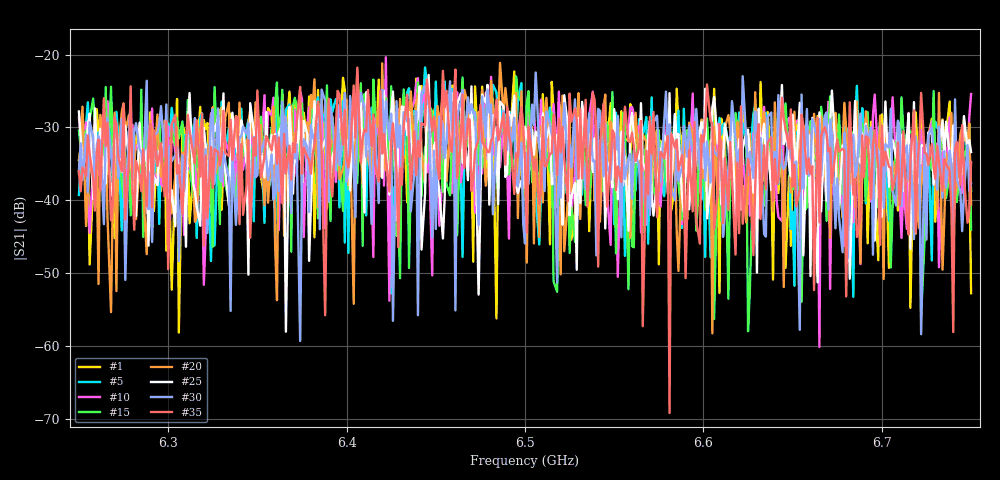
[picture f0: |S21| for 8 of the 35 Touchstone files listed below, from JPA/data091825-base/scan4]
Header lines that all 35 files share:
# Hz S RI R 50
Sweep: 6.25 GHz to 6.75 GHz
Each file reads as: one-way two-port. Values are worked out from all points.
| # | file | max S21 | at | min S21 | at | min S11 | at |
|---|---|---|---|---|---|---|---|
| 1 | trace0.s2p | -22.33 dB | 6.494 GHz | -58.1 dB | 6.306 GHz | -3.4 dB | 6.662 GHz |
| 2 | trace1.s2p | -22.49 dB | 6.452 GHz | -66.2 dB | 6.662 GHz | -5.9 dB | 6.488 GHz |
| 3 | trace2.s2p | -23.80 dB | 6.598 GHz | -60.2 dB | 6.344 GHz | -3.8 dB | 6.658 GHz |
| 4 | trace3.s2p | -21.10 dB | 6.45 GHz | -67.1 dB | 6.585 GHz | -3.7 dB | 6.646 GHz |
| 5 | trace4.s2p | -21.77 dB | 6.444 GHz | -53.2 dB | 6.684 GHz | -3.4 dB | 6.689 GHz |
| 6 | trace5.s2p | -21.30 dB | 6.489 GHz | -58.4 dB | 6.266 GHz | -7.8 dB | 6.488 GHz |
| 7 | trace6.s2p | -22.18 dB | 6.501 GHz | -54.7 dB | 6.399 GHz | -3.7 dB | 6.671 GHz |
| 8 | trace7.s2p | -21.11 dB | 6.411 GHz | -60.5 dB | 6.468 GHz | -3.6 dB | 6.668 GHz |
| 9 | trace8.s2p | -18.23 dB | 6.455 GHz | -54.0 dB | 6.336 GHz | -14.5 dB | 6.488 GHz |
| 10 | trace11.s2p | -20.37 dB | 6.422 GHz | -60.1 dB | 6.665 GHz | -4.1 dB | 6.742 GHz |
| 11 | trace12.s2p | -22.76 dB | 6.441 GHz | -52.4 dB | 6.492 GHz | -3.7 dB | 6.646 GHz |
| 12 | trace13.s2p | -22.64 dB | 6.722 GHz | -64.2 dB | 6.579 GHz | -10.0 dB | 6.488 GHz |
| 13 | trace14.s2p | -21.04 dB | 6.449 GHz | -54.3 dB | 6.68 GHz | -3.7 dB | 6.622 GHz |
| 14 | trace15.s2p | -21.45 dB | 6.414 GHz | -61.7 dB | 6.676 GHz | -7.3 dB | 6.488 GHz |
| 15 | trace16.s2p | -23.00 dB | 6.495 GHz | -58.0 dB | 6.625 GHz | -3.5 dB | 6.634 GHz |
| 16 | trace17.s2p | -22.90 dB | 6.56 GHz | -53.2 dB | 6.641 GHz | -3.6 dB | 6.641 GHz |
| 17 | trace18.s2p | -20.03 dB | 6.49 GHz | -57.7 dB | 6.742 GHz | -4.3 dB | 6.645 GHz |
| 18 | trace19.s2p | -21.91 dB | 6.415 GHz | -55.1 dB | 6.341 GHz | -3.9 dB | 6.649 GHz |
| 19 | trace20.s2p | -23.27 dB | 6.491 GHz | -62.7 dB | 6.68 GHz | -3.8 dB | 6.616 GHz |
| 20 | trace21.s2p | -21.13 dB | 6.486 GHz | -58.2 dB | 6.605 GHz | -15.9 dB | 6.488 GHz |
| 21 | trace22.s2p | -20.78 dB | 6.418 GHz | -57.5 dB | 6.728 GHz | -3.5 dB | 6.646 GHz |
| 22 | trace23.s2p | -21.92 dB | 6.445 GHz | -65.7 dB | 6.671 GHz | -5.2 dB | 6.488 GHz |
| 23 | trace24.s2p | -22.88 dB | 6.392 GHz | -62.7 dB | 6.404 GHz | -3.5 dB | 6.651 GHz |
| 24 | trace25.s2p | -22.32 dB | 6.408 GHz | -54.5 dB | 6.719 GHz | -3.7 dB | 6.671 GHz |
| 25 | trace26.s2p | -22.78 dB | 6.446 GHz | -58.0 dB | 6.366 GHz | -7.5 dB | 6.488 GHz |
| 26 | trace27.s2p | -21.42 dB | 6.391 GHz | -52.5 dB | 6.579 GHz | -3.7 dB | 6.74 GHz |
| 27 | trace30.s2p | -22.83 dB | 6.459 GHz | -57.9 dB | 6.539 GHz | -3.3 dB | 6.68 GHz |
| 28 | trace31.s2p | -23.58 dB | 6.521 GHz | -68.0 dB | 6.619 GHz | -3.5 dB | 6.668 GHz |
| 29 | trace32.s2p | -20.65 dB | 6.426 GHz | -54.9 dB | 6.275 GHz | -15.5 dB | 6.488 GHz |
| 30 | trace33.s2p | -22.47 dB | 6.506 GHz | -59.3 dB | 6.374 GHz | -3.5 dB | 6.66 GHz |
| 31 | trace34.s2p | -23.94 dB | 6.398 GHz | -60.0 dB | 6.616 GHz | -4.7 dB | 6.488 GHz |
| 32 | trace35.s2p | -19.55 dB | 6.462 GHz | -60.0 dB | 6.476 GHz | -3.5 dB | 6.661 GHz |
| 33 | trace36.s2p | -22.06 dB | 6.436 GHz | -59.3 dB | 6.272 GHz | -3.9 dB | 6.649 GHz |
| 34 | trace37.s2p | -22.83 dB | 6.466 GHz | -57.7 dB | 6.435 GHz | -3.6 dB | 6.671 GHz |
| 35 | trace38.s2p | -21.80 dB | 6.406 GHz | -69.2 dB | 6.581 GHz | -10.7 dB | 6.488 GHz |
